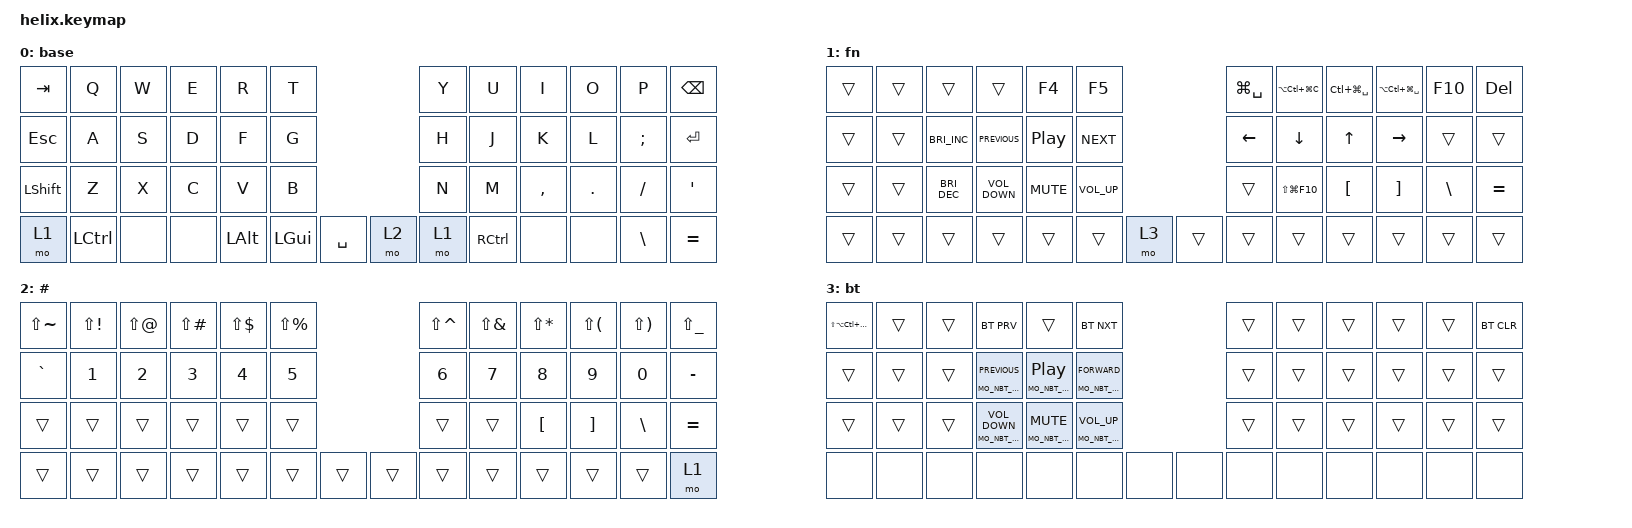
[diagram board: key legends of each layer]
#include <behaviors.dtsi>
#include <dt-bindings/zmk/bt.h>
#include <dt-bindings/zmk/keys.h>

/ {
    macros {
        MO_NBT_KP: MO_NBT_KP {
            compatible = "zmk,behavior-macro-one-param";
            #binding-cells = <1>;
            bindings =
                <&bt BT_NXT>,
                <&macro_wait_time 500>,
                <&macro_param_1to1 &kp MACRO_PLACEHOLDER &bt BT_PRV>;

            label = "MO_NBT_KP";
        };
    };

    keymap {
        compatible = "zmk,keymap";

        base {
            label = "base";
            bindings = <
&kp TAB     &kp Q      &kp W  &kp E  &kp R     &kp T                         &kp Y  &kp U              &kp I      &kp O       &kp P          &kp BACKSPACE
&kp ESCAPE  &kp A      &kp S  &kp D  &kp F     &kp G                         &kp H  &kp J              &kp K      &kp L       &kp SEMI       &kp ENTER
&kp LSHFT   &kp Z      &kp X  &kp C  &kp V     &kp B                         &kp N  &kp M              &kp COMMA  &kp PERIOD  &kp SLASH      &kp SINGLE_QUOTE
&mo 1       &kp LCTRL  &none  &none  &kp LALT  &kp LGUI  &kp SPACE    &mo 2  &mo 1  &kp RIGHT_CONTROL  &none      &none       &kp BACKSLASH  &kp EQUAL
            >;
        };

        fn {
            label = "fn";
            bindings = <
&trans  &trans  &trans                &trans             &kp F4            &kp F5                            &kp LG(SPACE)   &kp LA(LC(LG(C)))  &kp LC(LG(SPACE))  &kp LA(LC(LG(SPACE)))  &kp F10        &kp DELETE
&trans  &trans  &kp C_BRIGHTNESS_INC  &kp C_PREVIOUS     &kp C_PLAY_PAUSE  &kp C_NEXT                        &kp LEFT_ARROW  &kp DOWN           &kp UP_ARROW       &kp RIGHT              &trans         &trans
&trans  &trans  &kp C_BRIGHTNESS_DEC  &kp C_VOLUME_DOWN  &kp K_MUTE        &kp C_VOLUME_UP                   &trans          &kp LS(LG(F10))    &kp LEFT_BRACKET   &kp RIGHT_BRACKET      &kp BACKSLASH  &kp EQUAL
&trans  &trans  &trans                &trans             &trans            &trans           &mo 3    &trans  &trans          &trans             &trans             &trans                 &trans         &trans
            >;
        };

        numbers {
            label = "#";
            bindings = <
&kp LS(TILDE)  &kp LS(EXCL)  &kp LS(AT)  &kp LS(POUND)  &kp LS(DLLR)  &kp LS(PRCNT)                    &kp LS(CARET)  &kp LS(AMPS)  &kp LS(STAR)  &kp LS(LPAR)  &kp LS(RPAR)  &kp LS(UNDER)
&kp GRAVE      &kp N1        &kp N2      &kp N3         &kp N4        &kp N5                           &kp N6         &kp N7        &kp N8        &kp N9        &kp N0        &kp MINUS
&trans         &trans        &trans      &trans         &trans        &trans                           &trans         &trans        &kp LBKT      &kp RBKT      &kp BSLH      &kp EQUAL
&trans         &trans        &trans      &trans         &trans        &trans         &trans    &trans  &trans         &trans        &trans        &trans        &trans        &mo 1
            >;
        };

        bluetooth {
            bindings = <
&kp LS(LA(LC(LG(F6))))  &trans  &trans  &bt BT_PRV                &trans                   &bt BT_NXT                              &trans  &trans  &trans  &trans  &trans  &bt BT_CLR
&trans                  &trans  &trans  &MO_NBT_KP K_PREVIOUS     &MO_NBT_KP C_PLAY_PAUSE  &MO_NBT_KP K_FORWARD                    &trans  &trans  &trans  &trans  &trans  &trans
&trans                  &trans  &trans  &MO_NBT_KP C_VOLUME_DOWN  &MO_NBT_KP K_MUTE        &MO_NBT_KP C_VOLUME_UP                  &trans  &trans  &trans  &trans  &trans  &trans
&none                   &none   &none   &none                     &none                    &none                   &none    &none  &none   &none   &none   &none   &none   &none
            >;

            label = "bt";
        };
    };
};
